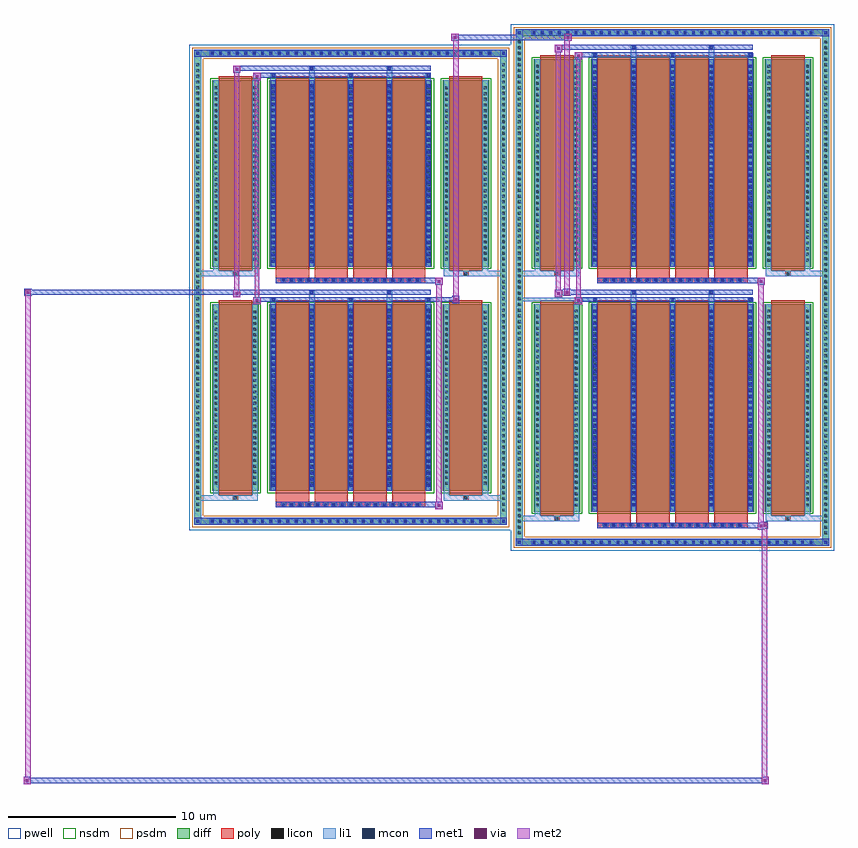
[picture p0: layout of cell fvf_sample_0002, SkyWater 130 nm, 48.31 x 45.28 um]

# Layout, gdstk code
import gdstk
lib = gdstk.Library(unit=1e-6, precision=1e-09)
def R(c, l, rs):  # rectangles x0, y0, x1, y1
    for r in rs: c.add(gdstk.rectangle(r[:2], r[2:], *l))
def A(c, l, x, y, w, h, nx, ny, dx, dy):  # array of equal rectangles
    R(c, l, [(x+i*dx, y+j*dy, x+i*dx+w, y+j*dy+h) for i in range(nx) for j in range(ny)])
def P(c, l, *ps):  # polygons
    for p in ps: c.add(gdstk.Polygon(p, *l))
pwell = (64, 44)
diff = (65, 20)
poly = (66, 20)
licon = (66, 44)
li1 = (67, 20)
mcon = (67, 44)
met1 = (68, 20)
via = (68, 44)
met2 = (69, 20)
nsdm = (93, 44)
psdm = (94, 20)

fvf_sample_0002 = lib.new_cell('fvf_sample_0002')
R(fvf_sample_0002, pwell, [(9.525,-15.692,28.823,15.692), (-9.625,-14.457,9.625,14.457)])
A(fvf_sample_0002, diff, 10.719, -15.382, 0.41, 0.41, 34, 2, 0.5, 30.354)
A(fvf_sample_0002, diff, 9.835, -14.825, 0.41, 0.41, 1, 87, 0, 0.34)
A(fvf_sample_0002, diff, 28.103, -14.825, 0.41, 0.41, 1, 87, 0, 0.34)
A(fvf_sample_0002, diff, -8.455, -14.147, 0.41, 0.41, 34, 2, 0.5, 27.884)
A(fvf_sample_0002, diff, -9.315, -13.465, 0.41, 0.41, 1, 79, 0, 0.34)
A(fvf_sample_0002, diff, 8.905, -13.465, 0.41, 0.41, 1, 79, 0, 0.34)
R(fvf_sample_0002, diff, [(10.719,-15.382,27.629,-14.972), (9.835,-14.825,10.245,14.825), (28.103,-14.825,28.513,14.825), (-8.455,-14.147,8.455,-13.737), (-9.315,-13.465,-8.905,13.465), (8.905,-13.465,9.315,13.465), (10.905,-13.361,13.673,-1.015), (14.313,-13.361,24.035,-1.015), (24.675,-13.361,27.443,-1.015), (-8.245,-12.126,-5.485,-1.014), (-4.845,-12.126,4.845,-1.014), (5.485,-12.126,8.245,-1.014), (-8.245,1.23,-5.485,12.342), (-4.845,1.23,4.845,12.342), (5.485,1.23,8.245,12.342), (10.905,1.231,13.673,13.577), (14.313,1.231,24.035,13.577), (24.675,1.231,27.443,13.577), (-8.455,13.737,8.455,14.147), (10.719,14.972,27.629,15.382)])
P(fvf_sample_0002, diff, [(9.315,14.147),(-9.315,14.147),(-9.315,-13.737),(-8.905,-13.737),(-8.905,13.737),(8.905,13.737),(8.905,-13.737),(-8.905,-13.737),(-9.315,-13.737),(-9.315,-14.147),(9.315,-14.147)],
  [(28.513,15.382),(9.835,15.382),(9.835,-14.972),(10.245,-14.972),(10.245,14.972),(28.103,14.972),(28.103,-14.972),(10.245,-14.972),(9.835,-14.972),(9.835,-15.382),(28.513,-15.382)])
A(fvf_sample_0002, poly, 15.009, -14.342, 0.33, 0.33, 17, 2, 0.5, 14.592)
A(fvf_sample_0002, poly, 14.703, -14.012, 1.988, 0.401, 4, 2, 2.318, 14.592)
A(fvf_sample_0002, poly, 14.703, -13.611, 1.988, 12.846, 4, 2, 2.318, 14.592)
A(fvf_sample_0002, poly, -4.165, -13.106, 0.33, 0.33, 17, 2, 0.5, 13.356)
A(fvf_sample_0002, poly, -4.455, -12.776, 1.98, 0.4, 4, 2, 2.31, 13.356)
A(fvf_sample_0002, poly, -4.455, -12.376, 1.98, 11.612, 4, 2, 2.31, 13.356)
R(fvf_sample_0002, poly, [(14.703,-14.342,23.645,-14.012), (12.124,-13.941,12.454,-13.611), (12.124,-13.941,12.454,-13.611), (25.894,-13.941,26.224,-13.611), (25.894,-13.941,26.224,-13.611), (11.295,-13.611,13.283,-0.765), (25.065,-13.611,27.053,-0.765), (-4.455,-13.106,4.455,-12.776), (-7.03,-12.706,-6.7,-12.376), (-7.03,-12.706,-6.7,-12.376), (6.7,-12.706,7.03,-12.376), (6.7,-12.706,7.03,-12.376), (-7.855,-12.376,-5.875,-0.764), (5.875,-12.376,7.855,-0.764), (-4.455,0.25,4.455,0.58), (14.703,0.25,23.645,0.58), (-7.03,0.65,-6.7,0.98), (-7.03,0.65,-6.7,0.98), (6.7,0.65,7.03,0.98), (6.7,0.65,7.03,0.98), (12.124,0.651,12.454,0.981), (12.124,0.651,12.454,0.981), (25.894,0.651,26.224,0.981), (25.894,0.651,26.224,0.981), (-7.855,0.98,-5.875,12.592), (5.875,0.98,7.855,12.592), (11.295,0.981,13.283,13.827), (25.065,0.981,27.053,13.827)])
A(fvf_sample_0002, licon, 10.839, -15.262, 0.17, 0.17, 34, 2, 0.5, 30.354)
A(fvf_sample_0002, licon, 9.955, -14.705, 0.17, 0.17, 1, 87, 0, 0.34)
A(fvf_sample_0002, licon, 28.223, -14.705, 0.17, 0.17, 1, 87, 0, 0.34)
A(fvf_sample_0002, licon, 15.089, -14.262, 0.17, 0.17, 17, 2, 0.5, 14.592)
A(fvf_sample_0002, licon, -8.335, -14.027, 0.17, 0.17, 34, 2, 0.5, 27.884)
A(fvf_sample_0002, licon, -9.195, -13.345, 0.17, 0.17, 1, 79, 0, 0.34)
A(fvf_sample_0002, licon, 9.025, -13.345, 0.17, 0.17, 1, 79, 0, 0.34)
A(fvf_sample_0002, licon, 11.045, -13.053, 0.17, 0.17, 1, 35, 0, 0.34)
A(fvf_sample_0002, licon, 13.363, -13.053, 0.17, 0.17, 1, 35, 0, 0.34)
A(fvf_sample_0002, licon, 14.453, -13.053, 0.17, 0.17, 5, 35, 2.318, 0.34)
A(fvf_sample_0002, licon, 24.815, -13.053, 0.17, 0.17, 1, 35, 0, 0.34)
A(fvf_sample_0002, licon, 27.133, -13.053, 0.17, 0.17, 1, 35, 0, 0.34)
A(fvf_sample_0002, licon, -4.085, -13.026, 0.17, 0.17, 17, 2, 0.5, 13.356)
A(fvf_sample_0002, licon, -8.105, -11.755, 0.17, 0.17, 1, 31, 0, 0.34)
A(fvf_sample_0002, licon, -5.795, -11.755, 0.17, 0.17, 1, 31, 0, 0.34)
A(fvf_sample_0002, licon, -4.705, -11.755, 0.17, 0.17, 5, 31, 2.31, 0.34)
A(fvf_sample_0002, licon, 5.625, -11.755, 0.17, 0.17, 1, 31, 0, 0.34)
A(fvf_sample_0002, licon, 7.935, -11.755, 0.17, 0.17, 1, 31, 0, 0.34)
A(fvf_sample_0002, licon, 11.045, 1.539, 0.17, 0.17, 1, 35, 0, 0.34)
A(fvf_sample_0002, licon, 13.363, 1.539, 0.17, 0.17, 1, 35, 0, 0.34)
A(fvf_sample_0002, licon, 14.453, 1.539, 0.17, 0.17, 5, 35, 2.318, 0.34)
A(fvf_sample_0002, licon, 24.815, 1.539, 0.17, 0.17, 1, 35, 0, 0.34)
A(fvf_sample_0002, licon, 27.133, 1.539, 0.17, 0.17, 1, 35, 0, 0.34)
A(fvf_sample_0002, licon, -8.105, 1.601, 0.17, 0.17, 1, 31, 0, 0.34)
A(fvf_sample_0002, licon, -5.795, 1.601, 0.17, 0.17, 1, 31, 0, 0.34)
A(fvf_sample_0002, licon, -4.705, 1.601, 0.17, 0.17, 5, 31, 2.31, 0.34)
A(fvf_sample_0002, licon, 5.625, 1.601, 0.17, 0.17, 1, 31, 0, 0.34)
A(fvf_sample_0002, licon, 7.935, 1.601, 0.17, 0.17, 1, 31, 0, 0.34)
R(fvf_sample_0002, licon, [(12.204,-13.861,12.374,-13.691), (25.974,-13.861,26.144,-13.691), (-6.95,-12.626,-6.78,-12.456), (6.78,-12.626,6.95,-12.456), (-6.95,0.73,-6.78,0.9), (6.78,0.73,6.95,0.9), (12.204,0.731,12.374,0.901), (25.974,0.731,26.144,0.901)])
A(fvf_sample_0002, li1, 10.759, -15.342, 0.33, 0.33, 34, 2, 0.5, 30.354)
A(fvf_sample_0002, li1, 9.875, -14.785, 0.33, 0.33, 1, 87, 0, 0.34)
A(fvf_sample_0002, li1, 28.143, -14.785, 0.33, 0.33, 1, 87, 0, 0.34)
A(fvf_sample_0002, li1, 15.009, -14.342, 0.33, 0.33, 17, 2, 0.5, 14.592)
A(fvf_sample_0002, li1, -8.415, -14.107, 0.33, 0.33, 34, 2, 0.5, 27.884)
A(fvf_sample_0002, li1, -9.275, -13.425, 0.33, 0.33, 1, 79, 0, 0.34)
A(fvf_sample_0002, li1, 8.945, -13.425, 0.33, 0.33, 1, 79, 0, 0.34)
A(fvf_sample_0002, li1, 14.373, -13.361, 0.33, 12.346, 5, 2, 2.318, 14.592)
A(fvf_sample_0002, li1, 10.965, -13.133, 0.33, 0.33, 1, 35, 0, 0.34)
A(fvf_sample_0002, li1, 13.283, -13.133, 0.33, 0.33, 1, 35, 0, 0.34)
A(fvf_sample_0002, li1, 14.373, -13.133, 0.33, 0.33, 5, 35, 2.318, 0.34)
A(fvf_sample_0002, li1, 24.735, -13.133, 0.33, 0.33, 1, 35, 0, 0.34)
A(fvf_sample_0002, li1, 27.053, -13.133, 0.33, 0.33, 1, 35, 0, 0.34)
A(fvf_sample_0002, li1, -4.165, -13.106, 0.33, 0.33, 17, 2, 0.5, 13.356)
A(fvf_sample_0002, li1, 14.453, -13.033, 0.17, 0.17, 5, 33, 2.318, 0.36)
A(fvf_sample_0002, li1, 14.453, -13.033, 0.17, 11.69, 5, 2, 2.318, 14.592)
A(fvf_sample_0002, li1, -4.785, -12.126, 0.33, 11.112, 5, 2, 2.31, 13.356)
A(fvf_sample_0002, li1, -4.705, -11.875, 0.17, 0.17, 5, 30, 2.31, 0.36)
A(fvf_sample_0002, li1, -4.705, -11.875, 0.17, 10.61, 5, 2, 2.31, 13.356)
A(fvf_sample_0002, li1, -8.185, -11.835, 0.33, 0.33, 1, 31, 0, 0.34)
A(fvf_sample_0002, li1, -5.875, -11.835, 0.33, 0.33, 1, 31, 0, 0.34)
A(fvf_sample_0002, li1, -4.785, -11.835, 0.33, 0.33, 5, 31, 2.31, 0.34)
A(fvf_sample_0002, li1, 5.545, -11.835, 0.33, 0.33, 1, 31, 0, 0.34)
A(fvf_sample_0002, li1, 7.855, -11.835, 0.33, 0.33, 1, 31, 0, 0.34)
A(fvf_sample_0002, li1, 14.373, -1.015, 0.33, 0.375, 3, 2, 4.636, 14.592)
A(fvf_sample_0002, li1, -4.785, -1.014, 0.33, 0.375, 3, 2, 4.62, 13.356)
A(fvf_sample_0002, li1, 14.453, -0.81, 0.17, 0.17, 3, 2, 4.636, 14.592)
A(fvf_sample_0002, li1, -4.705, -0.809, 0.17, 0.17, 3, 2, 4.62, 13.356)
A(fvf_sample_0002, li1, 10.965, 1.459, 0.33, 0.33, 1, 35, 0, 0.34)
A(fvf_sample_0002, li1, 13.283, 1.459, 0.33, 0.33, 1, 35, 0, 0.34)
A(fvf_sample_0002, li1, 14.373, 1.459, 0.33, 0.33, 5, 35, 2.318, 0.34)
A(fvf_sample_0002, li1, 24.735, 1.459, 0.33, 0.33, 1, 35, 0, 0.34)
A(fvf_sample_0002, li1, 27.053, 1.459, 0.33, 0.33, 1, 35, 0, 0.34)
A(fvf_sample_0002, li1, -4.705, 1.481, 0.17, 0.17, 5, 30, 2.31, 0.36)
A(fvf_sample_0002, li1, -8.185, 1.521, 0.33, 0.33, 1, 31, 0, 0.34)
A(fvf_sample_0002, li1, -5.875, 1.521, 0.33, 0.33, 1, 31, 0, 0.34)
A(fvf_sample_0002, li1, -4.785, 1.521, 0.33, 0.33, 5, 31, 2.31, 0.34)
A(fvf_sample_0002, li1, 5.545, 1.521, 0.33, 0.33, 1, 31, 0, 0.34)
A(fvf_sample_0002, li1, 7.855, 1.521, 0.33, 0.33, 1, 31, 0, 0.34)
A(fvf_sample_0002, li1, 14.453, 1.559, 0.17, 0.17, 5, 33, 2.318, 0.36)
R(fvf_sample_0002, li1, [(9.835,-15.382,10.245,-14.972), (28.103,-15.382,28.513,-14.972), (10.759,-15.342,27.589,-15.012), (9.955,-15.262,10.125,-15.092), (9.955,-15.262,10.125,-15.092), (28.223,-15.262,28.393,-15.092), (28.223,-15.262,28.393,-15.092), (9.835,-14.972,10.245,14.972), (28.103,-14.972,28.513,14.972), (-9.315,-14.147,-8.905,-13.737), (8.905,-14.147,9.315,-13.737), (-8.415,-14.107,8.415,-13.777), (-9.195,-14.027,-9.025,-13.857), (-9.195,-14.027,-9.025,-13.857), (9.025,-14.027,9.195,-13.857), (9.025,-14.027,9.195,-13.857), (9.835,-13.941,12.124,-13.611), (10.965,-13.941,11.295,-13.361), (10.965,-13.941,12.124,-13.611), (12.124,-13.941,12.454,-13.611), (12.454,-13.941,13.613,-13.611), (13.283,-13.941,13.613,-13.361), (24.735,-13.941,25.065,-13.361), (24.735,-13.941,25.894,-13.611), (25.894,-13.941,26.224,-13.611), (25.894,-13.941,28.513,-13.611), (26.224,-13.941,27.383,-13.611), (27.053,-13.941,27.383,-13.361), (-9.315,-13.737,-8.905,13.737), (8.905,-13.737,9.315,13.737), (10.965,-13.361,11.295,-1.015), (13.283,-13.361,13.613,-1.015), (24.735,-13.361,25.065,-1.015), (27.053,-13.361,27.383,-1.015), (-9.315,-12.706,-7.03,-12.376), (-8.185,-12.706,-7.03,-12.376), (-8.185,-12.706,-7.855,-12.126), (-7.03,-12.706,-6.7,-12.376), (-6.7,-12.706,-5.545,-12.376), (-5.875,-12.706,-5.545,-12.126), (5.545,-12.706,6.7,-12.376), (5.545,-12.706,5.875,-12.126), (6.7,-12.706,7.03,-12.376), (6.7,-12.706,9.315,-12.376), (7.03,-12.706,8.185,-12.376), (7.855,-12.706,8.185,-12.126), (-8.185,-12.126,-7.855,-1.014), (-5.875,-12.126,-5.545,-1.014), (5.545,-12.126,5.875,-1.014), (7.855,-12.126,8.185,-1.014), (16.691,-1.015,17.021,-0.21), (21.327,-1.015,21.657,-0.21), (-2.475,-1.014,-2.145,-0.209), (2.145,-1.014,2.475,-0.209), (14.393,-0.87,14.683,-0.58), (9.835,-0.825,14.393,-0.625), (14.453,-0.81,14.623,-0.64), (16.771,-0.38,16.941,-0.21), (21.407,-0.38,21.577,-0.21), (-2.395,-0.379,-2.225,-0.209), (2.225,-0.379,2.395,-0.209), (-9.315,0.65,-7.03,0.98), (-8.185,0.65,-7.03,0.98), (-8.185,0.65,-7.855,1.23), (-7.03,0.65,-6.7,0.98), (-6.7,0.65,-5.545,0.98), (-5.875,0.65,-5.545,1.23), (5.545,0.65,6.7,0.98), (5.545,0.65,5.875,1.23), (6.7,0.65,7.03,0.98), (6.7,0.65,9.315,0.98), (7.03,0.65,8.185,0.98), (7.855,0.65,8.185,1.23), (9.835,0.651,12.124,0.981), (10.965,0.651,11.295,1.231), (10.965,0.651,12.124,0.981), (12.124,0.651,12.454,0.981), (12.454,0.651,13.613,0.981), (13.283,0.651,13.613,1.231), (24.735,0.651,25.065,1.231), (24.735,0.651,25.894,0.981), (25.894,0.651,26.224,0.981), (25.894,0.651,28.513,0.981), (26.224,0.651,27.383,0.981), (27.053,0.651,27.383,1.231), (-8.185,1.23,-7.855,12.342), (-5.875,1.23,-5.545,12.342), (5.545,1.23,5.875,12.342), (7.855,1.23,8.185,12.342), (10.965,1.231,11.295,13.577), (13.283,1.231,13.613,13.577), (24.735,1.231,25.065,13.577), (27.053,1.231,27.383,13.577), (-2.475,12.342,-2.145,13.147), (2.145,12.342,2.475,13.147), (-2.395,12.977,-2.225,13.147), (2.225,12.977,2.395,13.147), (16.691,13.577,17.021,14.382), (21.327,13.577,21.657,14.382), (-9.315,13.737,-8.905,14.147), (8.905,13.737,9.315,14.147), (-8.415,13.777,8.415,14.107), (-9.195,13.857,-9.025,14.027), (-9.195,13.857,-9.025,14.027), (9.025,13.857,9.195,14.027), (9.025,13.857,9.195,14.027), (16.771,14.212,16.941,14.382), (21.407,14.212,21.577,14.382), (9.835,14.972,10.245,15.382), (28.103,14.972,28.513,15.382), (10.759,15.012,27.589,15.342), (9.955,15.092,10.125,15.262), (9.955,15.092,10.125,15.262), (28.223,15.092,28.393,15.262), (28.223,15.092,28.393,15.262)])
A(fvf_sample_0002, mcon, 10.839, -15.262, 0.17, 0.17, 34, 2, 0.5, 30.354)
A(fvf_sample_0002, mcon, 15.089, -14.262, 0.17, 0.17, 17, 2, 0.5, 14.592)
A(fvf_sample_0002, mcon, -8.335, -14.027, 0.17, 0.17, 34, 2, 0.5, 27.884)
A(fvf_sample_0002, mcon, 14.453, -13.033, 0.17, 0.17, 5, 33, 2.318, 0.36)
A(fvf_sample_0002, mcon, -4.085, -13.026, 0.17, 0.17, 17, 2, 0.5, 13.356)
A(fvf_sample_0002, mcon, -4.705, -11.875, 0.17, 0.17, 5, 30, 2.31, 0.36)
A(fvf_sample_0002, mcon, 14.453, -0.81, 0.17, 0.17, 3, 2, 4.636, 14.592)
A(fvf_sample_0002, mcon, -4.705, -0.809, 0.17, 0.17, 3, 2, 4.62, 13.356)
A(fvf_sample_0002, mcon, -4.705, 1.481, 0.17, 0.17, 5, 30, 2.31, 0.36)
A(fvf_sample_0002, mcon, 14.453, 1.559, 0.17, 0.17, 5, 33, 2.318, 0.36)
R(fvf_sample_0002, mcon, [(9.955,-15.262,10.125,-15.092), (28.223,-15.262,28.393,-15.092), (-9.195,-14.027,-9.025,-13.857), (9.025,-14.027,9.195,-13.857), (14.453,-0.81,14.623,-0.64), (16.771,-0.38,16.941,-0.21), (21.407,-0.38,21.577,-0.21), (-2.395,-0.379,-2.225,-0.209), (2.225,-0.379,2.395,-0.209), (-2.395,12.977,-2.225,13.147), (2.225,12.977,2.395,13.147), (-9.195,13.857,-9.025,14.027), (9.025,13.857,9.195,14.027), (16.771,14.212,16.941,14.382), (21.407,14.212,21.577,14.382), (9.955,15.092,10.125,15.262), (28.223,15.092,28.393,15.262)])
A(fvf_sample_0002, met1, 10.779, -15.322, 0.29, 0.29, 34, 2, 0.5, 30.354)
A(fvf_sample_0002, met1, 15.029, -14.322, 0.29, 0.29, 17, 2, 0.5, 14.592)
A(fvf_sample_0002, met1, -8.395, -14.087, 0.29, 0.29, 34, 2, 0.5, 27.884)
A(fvf_sample_0002, met1, 14.393, -13.361, 0.29, 12.346, 5, 2, 2.318, 14.592)
A(fvf_sample_0002, met1, 14.393, -13.093, 0.29, 0.29, 5, 33, 2.318, 0.36)
A(fvf_sample_0002, met1, -4.145, -13.086, 0.29, 0.29, 17, 2, 0.5, 13.356)
A(fvf_sample_0002, met1, -4.765, -12.126, 0.29, 11.112, 5, 2, 2.31, 13.356)
A(fvf_sample_0002, met1, -4.765, -11.935, 0.29, 0.29, 5, 30, 2.31, 0.36)
A(fvf_sample_0002, met1, 14.393, -0.87, 0.29, 0.29, 3, 2, 4.636, 14.592)
A(fvf_sample_0002, met1, -4.765, -0.869, 0.29, 0.29, 3, 2, 4.62, 13.356)
A(fvf_sample_0002, met1, -4.765, 1.421, 0.29, 0.29, 5, 30, 2.31, 0.36)
A(fvf_sample_0002, met1, 14.393, 1.499, 0.29, 0.29, 5, 33, 2.318, 0.36)
R(fvf_sample_0002, met1, [(-19.487,-29.587,-19.057,-29.157), (24.48,-29.587,24.91,-29.157), (-19.487,-29.537,24.91,-29.207), (-19.487,-29.207,-19.057,-29.157), (24.48,-29.207,24.91,-29.157), (9.835,-15.382,10.245,-14.972), (9.835,-15.382,10.245,-14.972), (10.245,-15.382,28.103,-14.972), (28.103,-15.382,28.513,-14.972), (28.103,-15.382,28.513,-14.972), (9.895,-15.322,10.185,-15.032), (28.163,-15.322,28.453,-15.032), (24.245,-14.442,24.675,-14.012), (24.43,-14.392,24.86,-13.962), (14.703,-14.342,23.645,-14.012), (23.645,-14.342,24.675,-14.012), (23.645,-14.342,24.43,-14.012), (-9.315,-14.147,-8.905,-13.737), (-9.315,-14.147,-8.905,-13.737), (-8.905,-14.147,8.905,-13.737), (8.905,-14.147,9.315,-13.737), (8.905,-14.147,9.315,-13.737), (-9.255,-14.087,-8.965,-13.797), (8.965,-14.087,9.255,-13.797), (5.055,-13.206,5.485,-12.776), (-4.455,-13.106,4.455,-12.776), (4.455,-13.106,5.485,-12.776), (13.363,-1.01,13.793,-0.58), (-5.795,-1.009,-5.365,-0.579), (6.05,-0.939,6.48,-0.509), (13.363,-0.87,14.393,-0.58), (14.393,-0.87,14.683,-0.58), (14.393,-0.87,23.955,-0.58), (-5.795,-0.869,-4.765,-0.579), (-4.765,-0.869,4.765,-0.579), (4.765,-0.869,6.05,-0.579), (12.163,-0.58,12.593,-0.15), (-6.995,-0.579,-6.565,-0.149), (12.678,-0.51,13.108,-0.08), (-19.437,-0.509,-19.007,-0.079), (12.163,-0.44,14.393,-0.15), (13.108,-0.44,14.393,-0.15), (14.393,-0.44,23.955,-0.15), (16.711,-0.44,17.001,-0.15), (21.347,-0.44,21.637,-0.15), (-19.007,-0.439,-4.765,-0.149), (-6.995,-0.439,-4.765,-0.149), (-4.765,-0.439,4.765,-0.149), (-2.455,-0.439,-2.165,-0.149), (2.165,-0.439,2.455,-0.149), (5.055,0.15,5.485,0.58), (24.245,0.15,24.675,0.58), (-4.455,0.25,4.455,0.58), (4.455,0.25,5.485,0.58), (14.703,0.25,23.645,0.58), (23.645,0.25,24.675,0.58), (-5.795,12.347,-5.365,12.777), (-5.795,12.487,-4.765,12.777), (-4.765,12.487,4.765,12.777), (-6.995,12.777,-6.565,13.207), (-6.995,12.917,-4.765,13.207), (-4.765,12.917,4.765,13.207), (-2.455,12.917,-2.165,13.207), (2.165,12.917,2.455,13.207), (13.363,13.582,13.793,14.012), (13.363,13.722,14.393,14.012), (14.393,13.722,23.955,14.012), (-9.315,13.737,-8.905,14.147), (-9.315,13.737,-8.905,14.147), (-8.905,13.737,8.905,14.147), (8.905,13.737,9.315,14.147), (8.905,13.737,9.315,14.147), (-9.255,13.797,-8.965,14.087), (8.965,13.797,9.255,14.087), (12.163,14.012,12.593,14.442), (12.163,14.152,14.393,14.442), (14.393,14.152,23.955,14.442), (16.711,14.152,17.001,14.442), (21.347,14.152,21.637,14.442), (6,14.685,6.43,15.115), (12.728,14.685,13.158,15.115), (6,14.735,13.158,15.065), (9.835,14.972,10.245,15.382), (9.835,14.972,10.245,15.382), (10.245,14.972,28.103,15.382), (28.103,14.972,28.513,15.382), (28.103,14.972,28.513,15.382), (9.895,15.032,10.185,15.322), (28.163,15.032,28.453,15.322), (6,15.065,6.43,15.115), (12.728,15.065,13.158,15.115)])
R(fvf_sample_0002, via, [(-19.347,-29.447,-19.197,-29.297), (24.62,-29.447,24.77,-29.297), (24.385,-14.302,24.535,-14.152), (24.57,-14.252,24.72,-14.102), (5.195,-13.066,5.345,-12.916), (13.503,-0.87,13.653,-0.72), (-5.655,-0.869,-5.505,-0.719), (6.19,-0.799,6.34,-0.649), (12.303,-0.44,12.453,-0.29), (-6.855,-0.439,-6.705,-0.289), (12.818,-0.37,12.968,-0.22), (-19.297,-0.369,-19.147,-0.219), (5.195,0.29,5.345,0.44), (24.385,0.29,24.535,0.44), (-5.655,12.487,-5.505,12.637), (-6.855,12.917,-6.705,13.067), (13.503,13.722,13.653,13.872), (12.303,14.152,12.453,14.302), (6.14,14.825,6.29,14.975), (12.868,14.825,13.018,14.975)])
R(fvf_sample_0002, met2, [(-19.487,-29.587,-19.057,-29.157), (-19.387,-29.587,-19.057,-0.459), (24.48,-29.587,24.91,-29.157), (24.48,-29.587,24.81,-14.342), (-19.437,-29.537,-19.107,-29.207), (24.53,-29.537,24.86,-29.207), (24.245,-14.442,24.675,-14.012), (24.295,-14.442,24.625,0.58), (24.625,-14.442,24.675,-14.012), (24.295,-14.392,24.625,-14.062), (24.48,-14.342,24.81,-14.012), (5.055,-13.206,5.485,-12.776), (5.105,-13.206,5.435,0.58), (5.435,-13.206,5.485,-12.776), (5.105,-13.156,5.435,-12.826), (13.363,-1.01,13.793,-0.58), (13.433,-1.01,13.723,14.012), (13.723,-1.01,13.793,-0.58), (-5.795,-1.009,-5.365,-0.579), (-5.725,-1.009,-5.435,12.777), (-5.435,-1.009,-5.365,-0.579), (13.413,-0.96,13.743,-0.63), (-5.745,-0.959,-5.415,-0.629), (6.1,-0.889,6.43,-0.559), (12.163,-0.58,12.593,-0.15), (12.233,-0.58,12.523,14.442), (12.523,-0.58,12.593,-0.15), (-6.995,-0.579,-6.565,-0.149), (-6.925,-0.579,-6.635,13.207), (-6.635,-0.579,-6.565,-0.149), (6.1,-0.559,6.43,15.115), (12.213,-0.53,12.543,-0.2), (-6.945,-0.529,-6.615,-0.199), (12.728,-0.46,13.058,-0.13), (-19.387,-0.459,-19.057,-0.129), (12.728,-0.13,13.058,15.115), (5.055,0.15,5.485,0.58), (5.435,0.15,5.485,0.58), (24.245,0.15,24.675,0.58), (24.625,0.15,24.675,0.58), (5.105,0.2,5.435,0.53), (24.295,0.2,24.625,0.53), (-5.795,12.347,-5.365,12.777), (-5.435,12.347,-5.365,12.777), (-5.745,12.397,-5.415,12.727), (-6.995,12.777,-6.565,13.207), (-6.635,12.777,-6.565,13.207), (-6.945,12.827,-6.615,13.157), (13.363,13.582,13.793,14.012), (13.723,13.582,13.793,14.012), (13.413,13.632,13.743,13.962), (12.163,14.012,12.593,14.442), (12.523,14.012,12.593,14.442), (12.213,14.062,12.543,14.392), (6,14.685,6.43,15.115), (12.728,14.685,13.158,15.115), (6.05,14.735,6.38,15.065), (12.778,14.735,13.108,15.065)])
R(fvf_sample_0002, nsdm, [(10.775,-13.491,13.803,-0.885), (14.183,-13.491,24.165,-0.885), (24.545,-13.491,27.573,-0.885), (-8.375,-12.256,-5.355,-0.884), (-4.975,-12.256,4.975,-0.884), (5.355,-12.256,8.375,-0.884), (-8.375,1.1,-5.355,12.472), (-4.975,1.1,4.975,12.472), (5.355,1.1,8.375,12.472), (10.775,1.101,13.803,13.707), (14.183,1.101,24.165,13.707), (24.545,1.101,27.573,13.707)])
P(fvf_sample_0002, psdm, [(9.445,14.277),(-9.445,14.277),(-9.445,-13.607),(-8.775,-13.607),(-8.775,13.607),(8.775,13.607),(8.775,-13.607),(-8.775,-13.607),(-9.445,-13.607),(-9.445,-14.277),(9.445,-14.277)],
  [(28.643,15.512),(9.705,15.512),(9.705,-14.842),(10.375,-14.842),(10.375,14.842),(27.973,14.842),(27.973,-14.842),(10.375,-14.842),(9.705,-14.842),(9.705,-15.512),(28.643,-15.512)])

lib.write_gds('fvf_sample_0002.gds')
